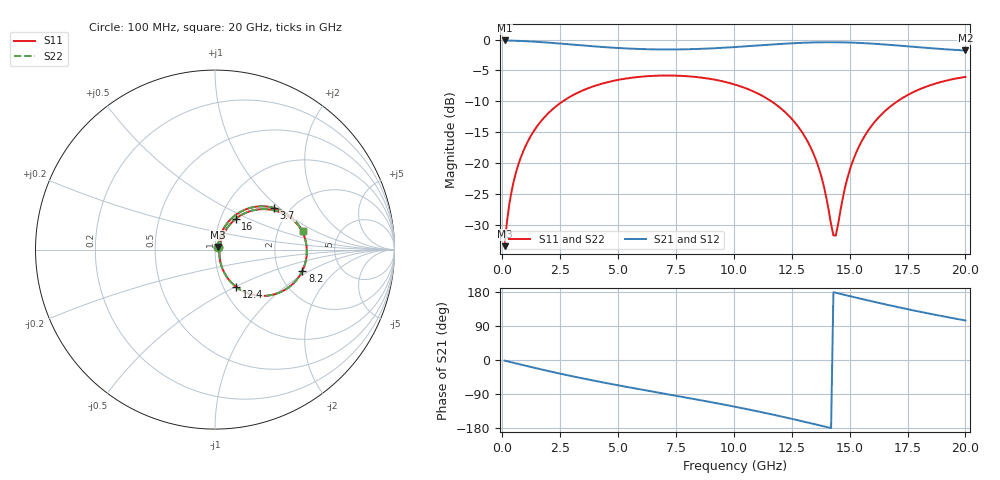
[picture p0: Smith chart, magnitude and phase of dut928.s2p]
! Touchstone file exported from HFSS 2026.1.0
!  File:  C:/ffzhzh/LocalFiles/Ansys_Project_Files/temp_train_TSV_RDL_928_1783280329_38820.aedt
!  Generated:  03:48:24 AM Jul  6, 2026
!  Design:  TSV_RDL
!  Project:  temp_train_TSV_RDL_928_1783280329_38820
! Variables:
!  h_bsmrdl = 5.98um
!  h_ox = 20um
!  h_rdl = 5um
!  h_sub = 51.65um
!  h_tmrdl = 3.94um
!  h_tsv = 51.65um
!  h_via = 3um
!  l_bsmrdl = 955.07um
!  l_sub = 4537.23um
!  l_tmrdl = 285.11um
!  m_sub = 200um
!  pitch = 45.62um
!  r_tsv = 12.42um
!  s_tmrdl = 10um
!  w_bsmrdl = 16.57um
!  w_sub = 500um
!  w_tmrdl = 27.29um
!  x_tsv_center1 = 298.755um
!  x_tsv_center2 = 1270.395um
!  x_tsv_center3 = 1582.795um
!  x_tsv_center4 = 2554.435um
!  x_tsv_center5 = 2866.835um
!  x_tsv_center6 = 3838.475um
# GHz S MA R 50.000000
! Terminal data exported
! Port[1] = TM_RDL1_1_T1
! Port[2] = TM_RDL5_1_T1
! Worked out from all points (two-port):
!   200 points, 100 MHz to 20 GHz, reference 50 ohm
!   highest |S21| = -0.13 dB at 100 MHz (marker M1); lowest = -1.8 dB at 20 GHz (marker M2)
!   |S21| within 3 dB of the highest: start of sweep to end of sweep
!   lowest |S11| = -33.5 dB at 100 MHz (marker M3), VSWR 1.04, Z = 51.5 + j1.49 ohm
!   |S11| at or under -10 dB: start of sweep to 2.613 GHz; 11.62 GHz to 17.06 GHz (5.443 GHz wide, 37.9 % of centre)
!   |S22| runs from -33.5 to -5.8 dB; largest |S21 - S12| = 3.5e-14
!   S11 on the Smith chart (normalised r, x): 100 MHz: 1.03, +0.03; 3.7 GHz: 1.67, +0.92; 8.2 GHz: 2.71, -0.85; 12.4 GHz: 1.15, -0.51; 16 GHz: 1.18, +0.42; 20 GHz: 2.75, +0.76
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0.1  0.02114 43.0  0.9848 -1.6  0.9848 -1.6  0.02114 43.0
! Gamma 0 0 0 0
! Port Impedance 50 0 50 0
0.3  0.04583 64.2  0.9826 -4.6  0.9826 -4.6  0.04583 64.2
0.5  0.07181 68.4  0.9802 -7.6  0.9802 -7.6  0.07181 68.4
1.1  0.1492 66.2  0.9698 -16.5  0.9698 -16.5  0.1492 66.2
2.1  0.2653 54.6  0.9423 -30.6  0.9423 -30.6  0.2653 54.6
3.5  0.3892 37.5  0.8961 -49.0  0.8961 -49.0  0.3892 37.5
3.7  0.4031 35.1  0.8898 -51.4  0.8898 -51.4  0.4031 35.1
5.3  0.4823 17.1  0.8493 -70.2  0.8493 -70.2  0.4823 17.1
6.8  0.5109 1.2  0.8326 -86.7  0.8326 -86.7  0.5109 1.2
8.2  0.5013 -13.5  0.8374 -102.1  0.8374 -102.1  0.5013 -13.5
10.1  0.4292 -34.1  0.872 -124.0  0.872 -124.0  0.4293 -34.1
12.4  0.2387 -60.5  0.9318 -153.8  0.9318 -153.8  0.2387 -60.5
13.4  0.1236 -68.6  0.9489 -168.0  0.9489 -168.0  0.1236 -68.6
13.9  0.06326 -64.1  0.9526 -175.3  0.9526 -175.3  0.06325 -64.1
14.3  0.02588 -18.0  0.9529 178.8  0.9529 178.8  0.0258 -18.1
14.4  0.02577 9.5  0.9526 177.4  0.9526 177.4  0.02567 9.5
14.8  0.06289 56.4  0.9497 171.5  0.9497 171.5  0.06282 56.5
15.1  0.09902 60.9  0.9459 167.2  0.9459 167.2  0.09896 61.0
16  0.2059 56.1  0.9277 154.3  0.9277 154.3  0.2059 56.2
16.7  0.281 48.6  0.9081 144.7  0.9081 144.7  0.281 48.7
18.2  0.4083 31.5  0.8612 125.3  0.8612 125.3  0.4083 31.6
20  0.4985 12.0  0.8165 104.3  0.8165 104.3  0.4984 12.0
